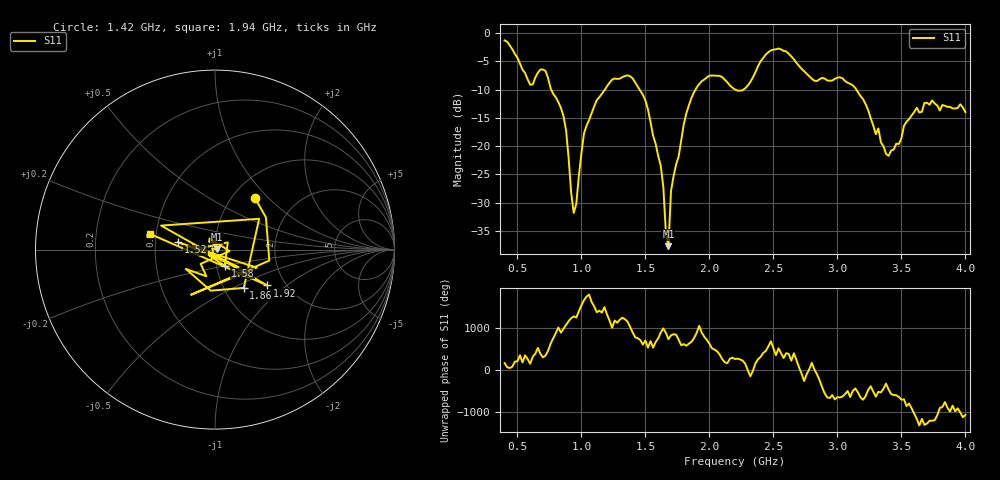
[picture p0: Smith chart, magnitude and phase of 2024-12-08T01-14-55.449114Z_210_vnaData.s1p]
!Created with skrf (http://scikit-rf.org).
# Hz S RI R 50.0
!freq ReS11 ImS11
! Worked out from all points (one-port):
!   181 points, 400 MHz to 4 GHz, reference 50 ohm
!   lowest |S11| = -37.7 dB at 1.68 GHz (marker M1), VSWR 1.03, Z = 51.3 + j0.194 ohm
!   |S11| at or under -10 dB: 763.9 MHz to 1.183 GHz (419.5 MHz wide, 43.1 % of centre); 1.454 GHz to 1.891 GHz (437.2 MHz wide, 26.1 % of centre); 3.148 GHz to end of sweep (the widest 3 of 4)
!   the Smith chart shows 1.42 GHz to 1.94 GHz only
!   S11 on the Smith chart (normalised r, x): 1.42 GHz: 1.26, +0.84; 1.52 GHz: 0.66, +0.06; 1.58 GHz: 1.10, -0.20; 1.86 GHz: 1.24, -0.57; 1.92 GHz: 1.62, -0.74; 1.94 GHz: 0.46, +0.09
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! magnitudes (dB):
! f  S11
! 400 MHz  -1.3
! 600 MHz  -9.1
! 720 MHz  -6.7
! 860 MHz  -14.7
! 940 MHz  -31.8
! 1.04 GHz  -16.4
! 1.3 GHz  -8.1
! 1.42 GHz  -8.8
! 1.52 GHz  -13.5
! 1.58 GHz  -19.6
! 1.62 GHz  -23.5
! 1.64 GHz  -27.2
! 1.66 GHz  -35.3
! 1.68 GHz  -37.7
! 1.7 GHz  -27.9
! 1.76 GHz  -21.8
! 1.86 GHz  -11.5
! 1.92 GHz  -9.0
! 1.94 GHz  -8.5
! 2.2 GHz  -10.0
! 2.48 GHz  -3.1
! 2.66 GHz  -4.7
! 2.82 GHz  -8.4
! 3.1 GHz  -9.0
! 3.4 GHz  -21.7
! 3.56 GHz  -15.2
! 3.74 GHz  -11.9
! 4 GHz  -14.0
